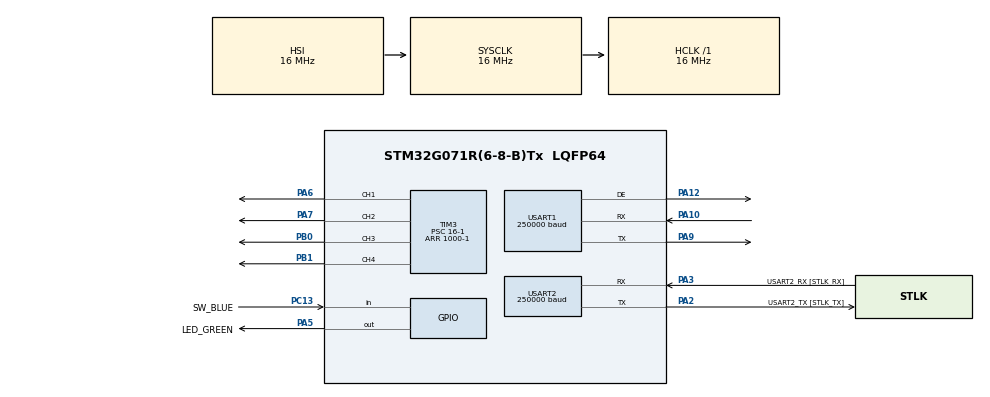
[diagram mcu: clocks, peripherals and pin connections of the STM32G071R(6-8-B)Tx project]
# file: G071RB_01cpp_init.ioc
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Mcu.Family=STM32G0
Mcu.Name=STM32G071R(6-8-B)Tx
Mcu.Package=LQFP64
PA10.Mode=Asynchronous
PA10.Signal=USART1_RX
PA12\ [PA10].Mode=Hardware Flow Control (RS485)
PA12\ [PA10].Signal=USART1_DE
PA13.GPIO_Label=TMS
PA13.Mode=Serial_Wire
PA13.Signal=SYS_SWDIO
PA14-BOOT0.GPIO_Label=TCK
PA14-BOOT0.Mode=Serial_Wire
PA14-BOOT0.Signal=SYS_SWCLK
PA2.GPIO_Label=USART2_TX [STLK_TX]
PA2.GPIO_PuPd=GPIO_PULLUP
PA2.Mode=Asynchronous
PA2.Signal=USART2_TX
PA3.GPIO_Label=USART2_RX [STLK_RX]
PA3.GPIO_PuPd=GPIO_PULLUP
PA3.Mode=Asynchronous
PA3.Signal=USART2_RX
PA5.GPIO_Label=LED_GREEN
PA5.GPIO_Speed=GPIO_SPEED_FREQ_HIGH
PA5.Signal=GPIO_Output
PA6.Signal=S_TIM3_CH1
PA7.Signal=S_TIM3_CH2
PA9.Mode=Asynchronous
PA9.Signal=USART1_TX
PB0.Signal=S_TIM3_CH3
PB1.Signal=S_TIM3_CH4
PC13.GPIO_Label=SW_BLUE
PC13.Signal=GPIO_Input
PC14-OSC32_IN\ (PC14).Mode=LSE-External-Oscillator
PC14-OSC32_IN\ (PC14).Signal=RCC_OSC32_IN
PC15-OSC32_OUT\ (PC15).Mode=LSE-External-Oscillator
PC15-OSC32_OUT\ (PC15).Signal=RCC_OSC32_OUT
PF0-OSC_IN\ (PF0).GPIO_Label=MCO
PF0-OSC_IN\ (PF0).Mode=HSE-External-Clock-Source
PF0-OSC_IN\ (PF0).Signal=RCC_OSC_IN
ProjectManager.HeapSize=0x200
ProjectManager.StackSize=0x400
ProjectManager.TargetToolchain=STM32CubeIDE
RCC.AHBFreq_Value=16000000
RCC.CortexFreq_Value=16000000
RCC.EXTERNAL_CLOCK_VALUE=12288000
RCC.HCLKFreq_Value=16000000
RCC.HSE_VALUE=8000000
RCC.HSI_VALUE=16000000
RCC.SYSCLKFreq_VALUE=16000000
RCC.VCOOutputFreq_Value=128000000
SH.S_TIM3_CH1.0=TIM3_CH1,PWM Generation1 CH1
SH.S_TIM3_CH2.0=TIM3_CH2,PWM Generation2 CH2
SH.S_TIM3_CH3.0=TIM3_CH3,PWM Generation3 CH3
SH.S_TIM3_CH4.0=TIM3_CH4,PWM Generation4 CH4
TIM3.Channel-PWM\ Generation1\ CH1=TIM_CHANNEL_1
TIM3.Channel-PWM\ Generation2\ CH2=TIM_CHANNEL_2
TIM3.Channel-PWM\ Generation3\ CH3=TIM_CHANNEL_3
TIM3.Channel-PWM\ Generation4\ CH4=TIM_CHANNEL_4
TIM3.Period=1000-1
TIM3.Prescaler=16-1
USART1.BaudRate=250000
USART1.VirtualMode-Asynchronous=VM_ASYNC
USART1.VirtualMode-Hardware\ Flow\ Control\ (RS485)=VM_ASYNC
USART2.BaudRate=250000
USART2.VirtualMode-Asynchronous=VM_ASYNC
VP_SYS_VS_DBSignals.Mode=DisableDeadBatterySignals
VP_TIM3_VS_ClockSourceINT.Mode=Internal
board=NUCLEO-G071RB

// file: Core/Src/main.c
/* USER CODE BEGIN Header */
/**
  ******************************************************************************
  * @file           : main.c
  * @brief          : Main program body
  ******************************************************************************
  * @attention
  *
  * Copyright (c) 2024 STMicroelectronics.
  * All rights reserved.
  *
  * This software is licensed under terms that can be found in the LICENSE file
  * in the root directory of this software component.
  * If no LICENSE file comes with this software, it is provided AS-IS.
  *
  ******************************************************************************
  */
/* USER CODE END Header */
#include "main.h"

TIM_HandleTypeDef htim3;

UART_HandleTypeDef huart1;
UART_HandleTypeDef huart2;

/* USER CODE BEGIN PV */
uint16_t pwmR, pwmG, pwmB, pwmW;
int8_t stepR, stepG = 20, stepB = -40, stepW = 5;

/* USER CODE END PV */

void SystemClock_Config(void);
static void MX_GPIO_Init(void);
static void MX_USART2_UART_Init(void);
static void MX_TIM3_Init(void);
static void MX_USART1_UART_Init(void);

/* USER CODE BEGIN 0 */
int _write(int file, char *ptr, int len) {
	HAL_UART_Transmit(&huart2, (uint8_t*) ptr, len, HAL_MAX_DELAY);
	return len;
}

/* USER CODE END 0 */

int main(void)
{

  /* MCU Configuration--------------------------------------------------------*/

  /* Reset of all peripherals, Initializes the Flash interface and the Systick. */
  HAL_Init();

  /* Configure the system clock */
  SystemClock_Config();

  /* Initialize all configured peripherals */
  MX_GPIO_Init();
  MX_USART2_UART_Init();
  MX_TIM3_Init();
  MX_USART1_UART_Init();
  /* USER CODE BEGIN 2 */
	pwmR = 0;
	pwmG = 580;
	pwmB = 900;
	pwmB = 0;

	TIM3->CCR1 = pwmR;
	TIM3->CCR2 = pwmG;
	TIM3->CCR3 = pwmB;
	TIM3->CCR4 = pwmW;
	HAL_TIM_PWM_Start(&htim3, TIM_CHANNEL_1); //coment test
	HAL_TIM_PWM_Start(&htim3, TIM_CHANNEL_2);
	HAL_TIM_PWM_Start(&htim3, TIM_CHANNEL_3);
	HAL_TIM_PWM_Start(&htim3, TIM_CHANNEL_4);

	//HAL_GPIO_WritePin(LED_GREEN_GPIO_Port,LED_GREEN_Pin,GPIO_PIN_SET);

	printf("\r\nSTM32G071RB DMX b0.01\r\n");
	printf("\r\n16MHz internal clock\r\n");
	printf("UART1 250kbps RS485\r\n");
	printf("UART2 250kbps VCP debug port\r\n");
	printf("TIM3 4xPWM@1kHz CH1-PB4, CH2-PA7, CH3-PB0 ,CH4-PB1\r\n");

  /* USER CODE END 2 */

  /* Infinite loop */
  /* USER CODE BEGIN WHILE */
  while (1)
  {
	  //HAL_GPIO_TogglePin(LED_GREEN_GPIO_Port, LED_GREEN_Pin);
	  //HAL_Delay(500);

		if (pwmR == 0)    stepR = 10;
		if (pwmR == 1000) stepR = -10;
		pwmR += stepR;
		if (pwmG == 0)    stepG = 20;
		if (pwmG == 1000) stepG = -20;
		pwmG += stepG;
		if (pwmB == 0)    stepB = 40;
		if (pwmB == 1000) stepB = -40;
		pwmB += stepB;
		if (pwmW == 0)    stepB = 5;
		if (pwmW == 1000) stepB = -5;
		pwmW += stepW;

		TIM3->CCR1 = pwmR;
		TIM3->CCR2 = pwmG;
		TIM3->CCR3 = pwmB;
		TIM3->CCR4 = pwmW;
		HAL_Delay(9);

    /* USER CODE END WHILE */

  }
}

void SystemClock_Config(void)
{
  RCC_OscInitTypeDef RCC_OscInitStruct = {0};
  RCC_ClkInitTypeDef RCC_ClkInitStruct = {0};

  /** Configure the main internal regulator output voltage
  */
  HAL_PWREx_ControlVoltageScaling(PWR_REGULATOR_VOLTAGE_SCALE1);

  /** Initializes the RCC Oscillators according to the specified parameters
  * in the RCC_OscInitTypeDef structure.
  */
  RCC_OscInitStruct.OscillatorType = RCC_OSCILLATORTYPE_HSI;
  RCC_OscInitStruct.HSIState = RCC_HSI_ON;
  RCC_OscInitStruct.HSIDiv = RCC_HSI_DIV1;
  RCC_OscInitStruct.HSICalibrationValue = RCC_HSICALIBRATION_DEFAULT;
  RCC_OscInitStruct.PLL.PLLState = RCC_PLL_NONE;
  if (HAL_RCC_OscConfig(&RCC_OscInitStruct) != HAL_OK)
  {
    Error_Handler();
  }

  /** Initializes the CPU, AHB and APB buses clocks
  */
  RCC_ClkInitStruct.ClockType = RCC_CLOCKTYPE_HCLK|RCC_CLOCKTYPE_SYSCLK
                              |RCC_CLOCKTYPE_PCLK1;
  RCC_ClkInitStruct.SYSCLKSource = RCC_SYSCLKSOURCE_HSI;
  RCC_ClkInitStruct.AHBCLKDivider = RCC_SYSCLK_DIV1;
  RCC_ClkInitStruct.APB1CLKDivider = RCC_HCLK_DIV1;

  if (HAL_RCC_ClockConfig(&RCC_ClkInitStruct, FLASH_LATENCY_0) != HAL_OK)
  {
    Error_Handler();
  }
}

static void MX_TIM3_Init(void)
{

  TIM_ClockConfigTypeDef sClockSourceConfig = {0};
  TIM_MasterConfigTypeDef sMasterConfig = {0};
  TIM_OC_InitTypeDef sConfigOC = {0};

  htim3.Instance = TIM3;
  htim3.Init.Prescaler = 16-1;
  htim3.Init.CounterMode = TIM_COUNTERMODE_UP;
  htim3.Init.Period = 1000-1;
  htim3.Init.ClockDivision = TIM_CLOCKDIVISION_DIV1;
  htim3.Init.AutoReloadPreload = TIM_AUTORELOAD_PRELOAD_DISABLE;
  if (HAL_TIM_Base_Init(&htim3) != HAL_OK)
  {
    Error_Handler();
  }
  sClockSourceConfig.ClockSource = TIM_CLOCKSOURCE_INTERNAL;
  if (HAL_TIM_ConfigClockSource(&htim3, &sClockSourceConfig) != HAL_OK)
  {
    Error_Handler();
  }
  if (HAL_TIM_PWM_Init(&htim3) != HAL_OK)
  {
    Error_Handler();
  }
  sMasterConfig.MasterOutputTrigger = TIM_TRGO_RESET;
  sMasterConfig.MasterSlaveMode = TIM_MASTERSLAVEMODE_DISABLE;
  if (HAL_TIMEx_MasterConfigSynchronization(&htim3, &sMasterConfig) != HAL_OK)
  {
    Error_Handler();
  }
  sConfigOC.OCMode = TIM_OCMODE_PWM1;
  sConfigOC.Pulse = 0;
  sConfigOC.OCPolarity = TIM_OCPOLARITY_HIGH;
  sConfigOC.OCFastMode = TIM_OCFAST_DISABLE;
  if (HAL_TIM_PWM_ConfigChannel(&htim3, &sConfigOC, TIM_CHANNEL_1) != HAL_OK)
  {
    Error_Handler();
  }
  if (HAL_TIM_PWM_ConfigChannel(&htim3, &sConfigOC, TIM_CHANNEL_2) != HAL_OK)
  {
    Error_Handler();
  }
  if (HAL_TIM_PWM_ConfigChannel(&htim3, &sConfigOC, TIM_CHANNEL_3) != HAL_OK)
  {
    Error_Handler();
  }
  if (HAL_TIM_PWM_ConfigChannel(&htim3, &sConfigOC, TIM_CHANNEL_4) != HAL_OK)
  {
    Error_Handler();
  }
  HAL_TIM_MspPostInit(&htim3);

}

static void MX_USART1_UART_Init(void)
{

  huart1.Instance = USART1;
  huart1.Init.BaudRate = 250000;
  huart1.Init.WordLength = UART_WORDLENGTH_8B;
  huart1.Init.StopBits = UART_STOPBITS_1;
  huart1.Init.Parity = UART_PARITY_NONE;
  huart1.Init.Mode = UART_MODE_TX_RX;
  huart1.Init.HwFlowCtl = UART_HWCONTROL_NONE;
  huart1.Init.OverSampling = UART_OVERSAMPLING_16;
  huart1.Init.OneBitSampling = UART_ONE_BIT_SAMPLE_DISABLE;
  huart1.Init.ClockPrescaler = UART_PRESCALER_DIV1;
  huart1.AdvancedInit.AdvFeatureInit = UART_ADVFEATURE_NO_INIT;
  if (HAL_RS485Ex_Init(&huart1, UART_DE_POLARITY_HIGH, 0, 0) != HAL_OK)
  {
    Error_Handler();
  }
  if (HAL_UARTEx_SetTxFifoThreshold(&huart1, UART_TXFIFO_THRESHOLD_1_8) != HAL_OK)
  {
    Error_Handler();
  }
  if (HAL_UARTEx_SetRxFifoThreshold(&huart1, UART_RXFIFO_THRESHOLD_1_8) != HAL_OK)
  {
    Error_Handler();
  }
  if (HAL_UARTEx_DisableFifoMode(&huart1) != HAL_OK)
  {
    Error_Handler();
  }

}

static void MX_USART2_UART_Init(void)
{

  huart2.Instance = USART2;
  huart2.Init.BaudRate = 250000;
  huart2.Init.WordLength = UART_WORDLENGTH_8B;
  huart2.Init.StopBits = UART_STOPBITS_1;
  huart2.Init.Parity = UART_PARITY_NONE;
  huart2.Init.Mode = UART_MODE_TX_RX;
  huart2.Init.HwFlowCtl = UART_HWCONTROL_NONE;
  huart2.Init.OverSampling = UART_OVERSAMPLING_16;
  huart2.Init.OneBitSampling = UART_ONE_BIT_SAMPLE_DISABLE;
  huart2.Init.ClockPrescaler = UART_PRESCALER_DIV1;
  huart2.AdvancedInit.AdvFeatureInit = UART_ADVFEATURE_NO_INIT;
  if (HAL_UART_Init(&huart2) != HAL_OK)
  {
    Error_Handler();
  }
  if (HAL_UARTEx_SetTxFifoThreshold(&huart2, UART_TXFIFO_THRESHOLD_1_8) != HAL_OK)
  {
    Error_Handler();
  }
  if (HAL_UARTEx_SetRxFifoThreshold(&huart2, UART_RXFIFO_THRESHOLD_1_8) != HAL_OK)
  {
    Error_Handler();
  }
  if (HAL_UARTEx_DisableFifoMode(&huart2) != HAL_OK)
  {
    Error_Handler();
  }

}

static void MX_GPIO_Init(void)
{
  GPIO_InitTypeDef GPIO_InitStruct = {0};

  /* GPIO Ports Clock Enable */
  __HAL_RCC_GPIOC_CLK_ENABLE();
  __HAL_RCC_GPIOF_CLK_ENABLE();
  __HAL_RCC_GPIOA_CLK_ENABLE();
  __HAL_RCC_GPIOB_CLK_ENABLE();

  /*Configure GPIO pin Output Level */
  HAL_GPIO_WritePin(LED_GREEN_GPIO_Port, LED_GREEN_Pin, GPIO_PIN_RESET);

  /*Configure GPIO pin : SW_BLUE_Pin */
  GPIO_InitStruct.Pin = SW_BLUE_Pin;
  GPIO_InitStruct.Mode = GPIO_MODE_INPUT;
  GPIO_InitStruct.Pull = GPIO_NOPULL;
  HAL_GPIO_Init(SW_BLUE_GPIO_Port, &GPIO_InitStruct);

  /*Configure GPIO pin : LED_GREEN_Pin */
  GPIO_InitStruct.Pin = LED_GREEN_Pin;
  GPIO_InitStruct.Mode = GPIO_MODE_OUTPUT_PP;
  GPIO_InitStruct.Pull = GPIO_NOPULL;
  GPIO_InitStruct.Speed = GPIO_SPEED_FREQ_HIGH;
  HAL_GPIO_Init(LED_GREEN_GPIO_Port, &GPIO_InitStruct);

}

void Error_Handler(void)
{
  __disable_irq();
  while (1)
  {
  }
}
